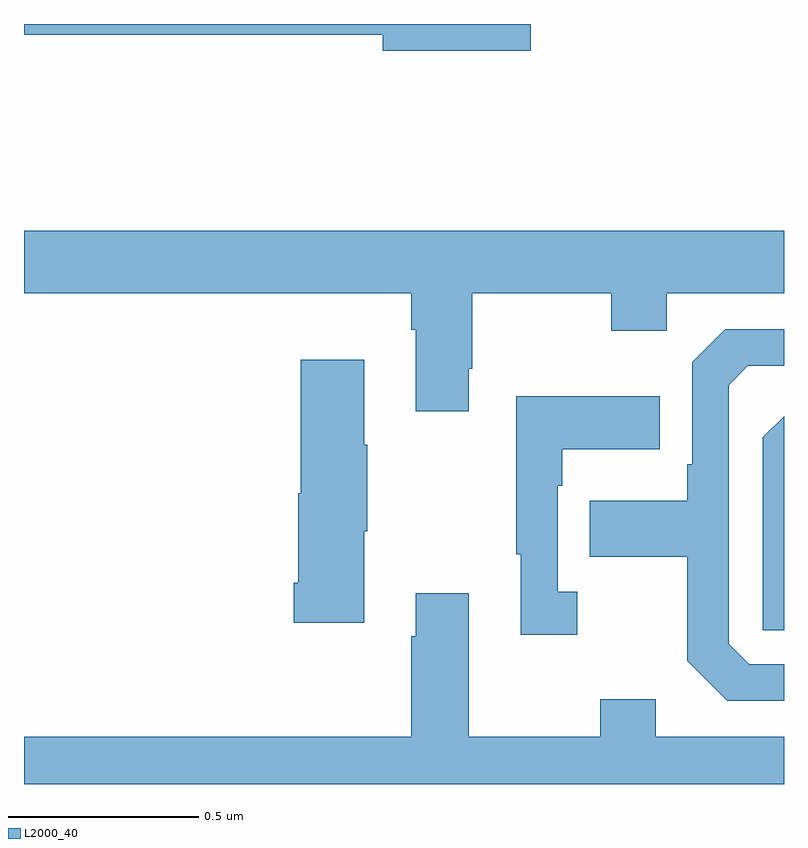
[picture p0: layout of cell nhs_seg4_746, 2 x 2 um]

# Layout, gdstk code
import gdstk
lib = gdstk.Library(unit=1e-6, precision=1e-09)
def P(c, l, *ps):  # polygons
    for p in ps: c.add(gdstk.Polygon(p, *l))
L2000_40 = (2000, 40)

nhs_seg4_746 = lib.new_cell('nhs_seg4_746')
P(nhs_seg4_746, L2000_40, [(121.333,758.9),(120,758.9),(120,758.872),(120.944,758.872),(120.944,758.83),(121.333,758.83)],
  [(121.171,757.993),(121.179,757.993),(121.179,758.192),(121.546,758.192),(121.546,758.093),(121.692,758.093),(121.692,758.192),(122,758.192),(122,758.356),(120,758.356),(120,758.192),(121.019,758.192),(121.019,758.096),(121.031,758.096),(121.031,757.881),(121.171,757.881)],
  [(122,757.215),(121.908,757.215),(121.854,757.269),(121.854,757.95),(121.905,758.001),(122,758.001),(122,758.097),(121.845,758.097),(121.758,758.01),(121.758,757.741),(121.746,757.741),(121.746,757.645),(121.489,757.645),(121.489,757.498),(121.746,757.498),(121.746,757.225),(121.851,757.119),(122,757.119)],
  [(120.895,757.565),(120.903,757.565),(120.903,757.793),(120.895,757.793),(120.895,758.017),(120.728,758.017),(120.728,757.665),(120.722,757.665),(120.722,757.429),(120.71,757.429),(120.71,757.325),(120.895,757.325)],
  [(121.456,757.406),(121.404,757.406),(121.404,757.685),(121.417,757.685),(121.417,757.781),(121.673,757.781),(121.673,757.921),(121.296,757.921),(121.296,757.505),(121.307,757.505),(121.307,757.293),(121.456,757.293)],
  [(122,757.868),(121.944,757.812),(121.944,757.305),(122,757.305)],
  [(122,757.024),(121.663,757.024),(121.663,757.123),(121.516,757.123),(121.516,757.024),(121.171,757.024),(121.171,757.402),(121.031,757.402),(121.031,757.289),(121.019,757.289),(121.019,757.024),(120,757.024),(120,756.9),(122,756.9)])

lib.write_gds('nhs_seg4_746.gds')
